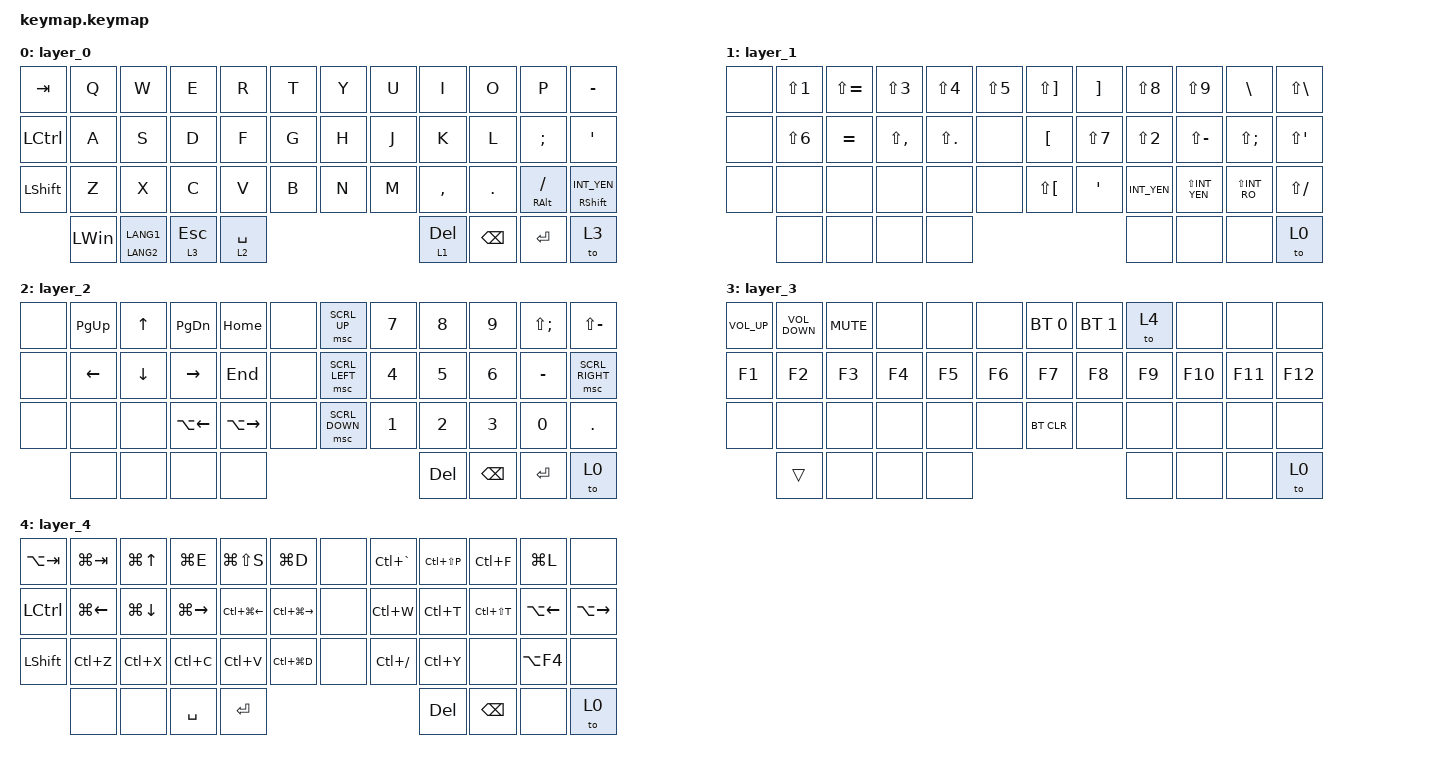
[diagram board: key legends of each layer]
#include <behaviors.dtsi>
#include <dt-bindings/zmk/bt.h>
#include <dt-bindings/zmk/keys.h>
#include <dt-bindings/zmk/pointing.h>

/ {
    combos {
        compatible = "zmk,combos";

        combo_lclk {
            timeout-ms = <50>;
            key-positions = <19 20>;
            bindings = <&mkp LCLK>;
        };

        combo_rclk {
            timeout-ms = <50>;
            key-positions = <20 21>;
            bindings = <&mkp RCLK>;
        };

        combo_mclk {
            timeout-ms = <50>;
            key-positions = <19 20 21>;
            bindings = <&mkp MCLK>;
        };

        combo_scrl_up {
            timeout-ms = <50>;
            key-positions = <31 32>;
            bindings = <&msc SCRL_UP>;
        };

        combo_scrl_dn {
            timeout-ms = <50>;
            key-positions = <32 33>;
            bindings = <&msc SCRL_DOWN>;
        };
    };

    keymap {
        compatible = "zmk,keymap";

        layer_0 {
            bindings = <
&kp TAB               &kp Q         &kp W      &kp E             &kp R        &kp T         &kp Y     &kp U      &kp I      &kp O    &kp P                &kp MINUS
&kp LEFT_CONTROL      &kp A         &kp S      &kp D             &kp F        &kp G         &kp H     &kp J      &kp K      &kp L    &kp SEMI             &kp SQT
&kp LSHFT             &kp Z         &kp X      &kp C             &kp V        &kp B         &kp N     &kp M      &kp COMMA  &kp DOT  &mt RIGHT_ALT SLASH  &mt RIGHT_SHIFT INT_YEN
                      &kp LEFT_WIN  &mt LANG2 LANG1  &lt 3 ESC  &lt 2 SPACE  &lt 1 DELETE  &kp BSPC  &kp ENTER                                           &to 3
            >;
        };

        layer_1 {
            bindings = <
&none  &kp LS(N1)   &kp LS(EQUAL)  &kp LS(N3)     &kp LS(N4)    &kp LS(N5)   &kp LS(RIGHT_BRACKET)  &kp RIGHT_BRACKET  &kp LS(N8)     &kp LS(N9)     &kp BACKSLASH  &kp LS(BACKSLASH)
&none  &kp LS(N6)   &kp EQUAL      &kp LS(COMMA)  &kp LS(DOT)   &none         &kp LEFT_BRACKET       &kp LS(N7)         &kp LS(N2)     &kp LS(MINUS)  &kp LS(SEMI)   &kp LS(SQT)
&none  &none        &none          &none          &none         &none         &kp LS(LEFT_BRACKET)   &kp SQT            &kp INT_YEN    &kp LS(INT_YEN) &kp LS(INT_RO) &kp LS(SLASH)
       &none        &none          &none          &none         &none         &none                  &none                                              &to 0
            >;
        };

        layer_2 {
            bindings = <
&none  &kp PAGE_UP  &kp UP_ARROW  &kp PAGE_DOWN    &kp HOME      &none       &msc SCRL_UP    &kp N7  &kp N8  &kp N9  &kp LS(SEMI)   &kp LS(MINUS)
&none  &kp LEFT     &kp DOWN      &kp RIGHT_ARROW  &kp END       &none       &msc SCRL_LEFT  &kp N4  &kp N5  &kp N6  &kp MINUS      &msc SCRL_RIGHT
&none  &none        &none         &kp LA(LEFT)     &kp LA(RIGHT) &none       &msc SCRL_DOWN  &kp N1  &kp N2  &kp N3  &kp N0         &kp DOT
       &none        &none         &none            &none         &kp DELETE  &kp BACKSPACE   &kp ENTER                               &to 0
            >;
        };

        layer_3 {
            bindings = <
&kp C_VOLUME_UP  &kp C_VOLUME_DOWN  &kp K_MUTE  &none   &none   &none   &bt BT_SEL 0  &bt BT_SEL 1  &to 4   &none    &none    &none
&kp F1           &kp F2             &kp F3      &kp F4  &kp F5  &kp F6  &kp F7        &kp F8        &kp F9  &kp F10  &kp F11  &kp F12
&none            &none              &none       &none   &none   &none   &bt BT_CLR    &none         &none   &none    &none    &none
                 &trans             &none       &none   &none   &none   &none         &none                          &to 0
            >;
        };

        layer_4 {
            bindings = <
&kp LA(TAB)  &kp LG(TAB)   &kp LG(UP)    &kp LG(E)       &kp LG(LS(S))    &kp LG(D)        &none  &kp LC(GRAVE)  &kp LC(LS(P))  &kp LC(F)      &kp LG(L)      &none
&kp LCTRL    &kp LG(LEFT)  &kp LG(DOWN)  &kp LG(RIGHT)   &kp LC(LG(LEFT)) &kp LC(LG(RIGHT)) &none  &kp LC(W)      &kp LC(T)      &kp LC(LS(T))  &kp LA(LEFT)   &kp LA(RIGHT)
&kp LSHFT    &kp LC(Z)     &kp LC(X)     &kp LC(C)       &kp LC(V)        &kp LC(LG(D))    &none  &kp LC(SLASH)  &kp LC(Y)      &none          &kp LA(F4)     &none
             &none         &none         &kp SPACE       &kp ENTER        &kp DELETE       &kp BSPC  &none                                       &to 0
            >;
        };
    };
};
